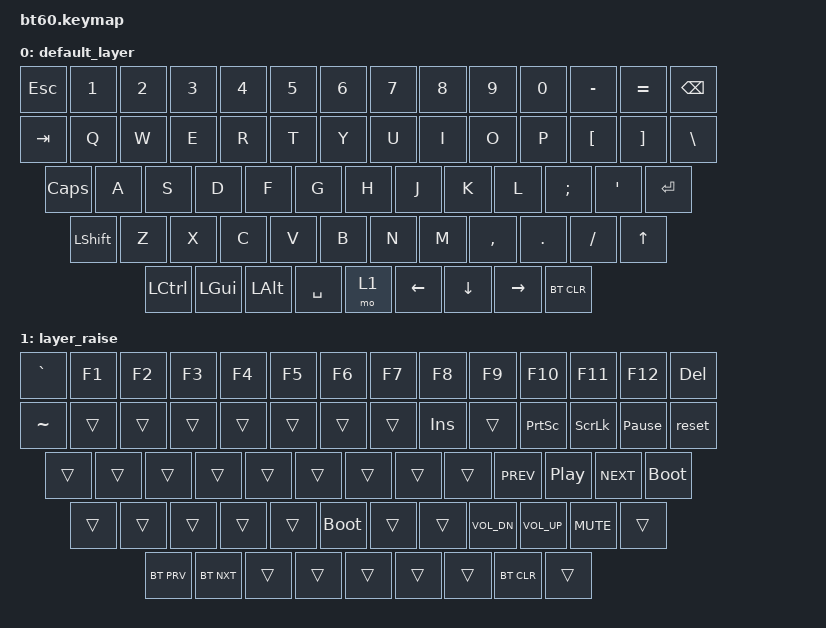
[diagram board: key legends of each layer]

/*
 * Copyright (c) 2020 The ZMK Contributors
 *
 * SPDX-License-Identifier: MIT
 */


/* THIS FILE WAS GENERATED!
 *
 * This file was generated automatically. You may or may not want to
 * edit it directly.
 */

#include <behaviors.dtsi>
#include <dt-bindings/zmk/keys.h>

#include <dt-bindings/zmk/bt.h>

/ {
    keymap {
        compatible = "zmk,keymap";


        default_layer {
            bindings = <
   &kp ESC     &kp N1    &kp N2    &kp N3     &kp N4    &kp N5            &kp N6       &kp N7     &kp N8      &kp N9    &kp N0  &kp MINUS  &kp EQUAL  &kp BSPC
   &kp TAB      &kp Q     &kp W     &kp E      &kp R     &kp T             &kp Y        &kp U      &kp I       &kp O     &kp P   &kp LBKT   &kp RBKT  &kp BSLH
  &kp CLCK      &kp A     &kp S     &kp D      &kp F     &kp G             &kp H        &kp J      &kp K       &kp L  &kp SEMI    &kp SQT    &kp RET
 &kp LSHFT      &kp Z     &kp X     &kp C      &kp V     &kp B             &kp N        &kp M  &kp COMMA     &kp DOT  &kp FSLH     &kp UP
            &kp LCTRL  &kp LGUI  &kp LALT  &kp SPACE     &mo 1          &kp LEFT     &kp DOWN  &kp RIGHT  &bt BT_CLR
            >;
        };

        layer_raise {
            bindings = <
  &kp GRAVE        &kp F1        &kp F2      &kp F3  &kp F4       &kp F5            &kp F6  &kp F7       &kp F8       &kp F9    &kp F10     &kp F11          &kp F12  &kp DEL
  &kp TILDE        &trans        &trans
     &trans  &trans       &trans            &trans  &trans      &kp INS       &trans  &kp PSCRN    &kp SLCK  &kp PAUSE_BREAK     &reset
     &trans        &trans        &trans      &trans  &trans       &trans            &trans  &trans       &trans   &kp C_PREV   &kp C_PP  &kp C_NEXT      &bootloader
     &trans        &trans        &trans      &trans  &trans  &bootloader            &trans  &trans &kp C_VOL_DN &kp C_VOL_UP &kp C_MUTE      &trans
               &bt BT_PRV    &bt BT_NXT      &trans  &trans       &trans            &trans  &trans   &bt BT_CLR       &trans
            >;
        };

    };
};
